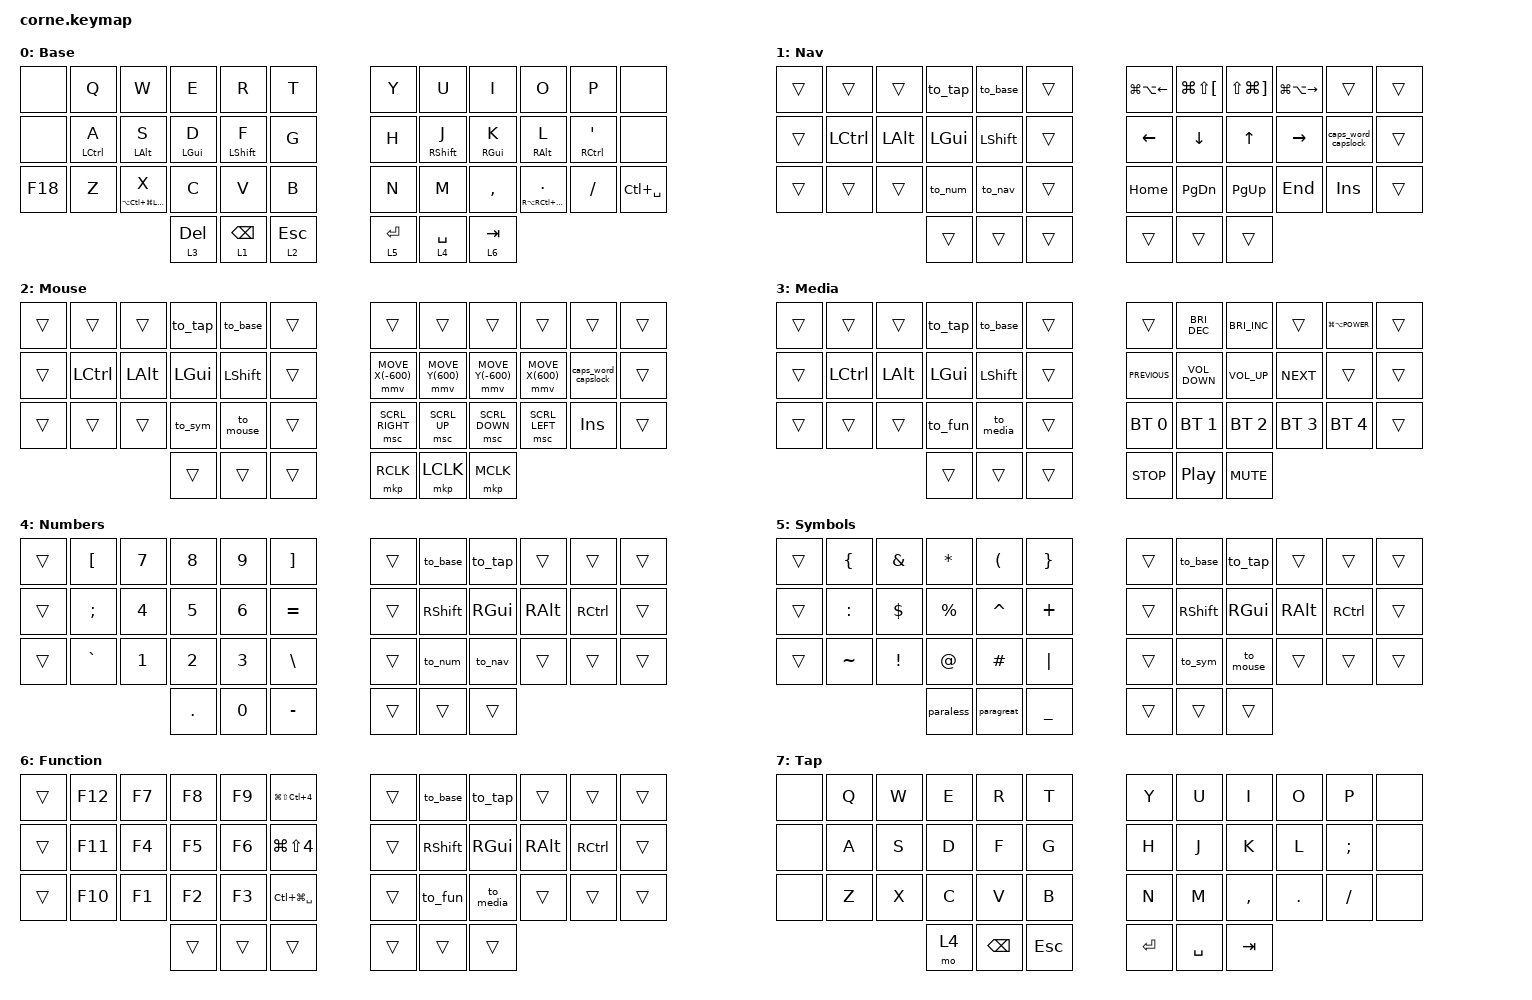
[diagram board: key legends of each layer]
#include <behaviors.dtsi>
#include <dt-bindings/zmk/bt.h>
#include <dt-bindings/zmk/keys.h>
#include <dt-bindings/zmk/pointing.h>

#define DEF 0
#define NAV 1
#define SYM 2
#define ADJ 3
#define EXTRA 4

&sk {
    release-after-ms = <900>;
    quick-release;
};

/ {
    behaviors {
        hm: homerow_mods {
            compatible = "zmk,behavior-hold-tap";
            #binding-cells = <2>;
            tapping-term-ms = <200>;
            flavor = "tap-preferred";
            bindings = <&kp>, <&kp>;

            quick-tap-ms = <180>;
            require-prior-idle-ms = <120>; /* tune to taste */
        };

        paraless: paraless {
            compatible = "zmk,behavior-mod-morph";
            bindings = <&kp LEFT_PARENTHESIS>, <&kp LESS_THAN>;

            #binding-cells = <0>;
            mods = <(MOD_RSFT)>;
        };

        paragreat: paragreat {
            compatible = "zmk,behavior-mod-morph";
            bindings = <&kp RIGHT_PARENTHESIS>, <&kp GREATER_THAN>;

            #binding-cells = <0>;
            mods = <(MOD_RSFT)>;
        };

        shift_caps: shift_caps {
            compatible = "zmk,behavior-tap-dance";
            label = "SHIFT_CAPS";
            #binding-cells = <0>;
            bindings = <&hold_sticktap LEFT_SHIFT LEFT_SHIFT>, <&kp CAPS>;
        };

        layer_tap_repeat: layer_tap_repeat {
            compatible = "zmk,behavior-hold-tap";
            #binding-cells = <2>;
            tapping-term-ms = <180>;
            flavor = "balanced";
            bindings = <&mo>, <&kp>;

            quick-tap-ms = <175>;
            require-prior-idle-ms = <120>;
            label = "LAYER_TAP_REPEAT";
        };

        hold_sticktap: hold_sticktap {
            compatible = "zmk,behavior-hold-tap";
            label = "HOLD_STICKTAP";
            bindings = <&kp>, <&sk>;

            #binding-cells = <2>;
            tapping-term-ms = <200>;
            flavor = "tap-preferred";
        };

        terminal_tmux_tapdance: terminal_tmux_tapdance {
            compatible = "zmk,behavior-tap-dance";
            label = "TERMINAL_TMUX_TAPDANCE";
            #binding-cells = <0>;
            bindings = <&ctrl_space>, <&ctrl_backtick>;
        };

        caps_word_layer_tap: caps_word_layer_tap {
            compatible = "zmk,behavior-hold-tap";
            #binding-cells = <2>;
            tapping-term-ms = <220>;
            flavor = "tap-preferred";
            bindings = <&mo>, <&sticky_shift_caps_word>;

            quick-tap-ms = <200>;
            require-prior-idle-ms = <120>;
            label = "CAPS_WORD_LAYER_TAP";
        };

        hrm_left: hrm_left {
            compatible = "zmk,behavior-hold-tap";
            #binding-cells = <2>;
            tapping-term-ms = <200>;
            flavor = "tap-preferred";
            bindings = <&kp>, <&kp>;

            quick-tap-ms = <180>;
            require-prior-idle-ms = <120>;
            label = "HRM_LEFT";
            hold-trigger-key-positions = <6 10 11 18 19 20 21 22 23 30 31 32 33 34 35 7 8 9 39 40 41>;
            hold-trigger-on-release;
        };

        hrm_right: hrm_right {
            compatible = "zmk,behavior-hold-tap";
            #binding-cells = <2>;
            tapping-term-ms = <200>;
            flavor = "tap-preferred";
            bindings = <&kp>, <&kp>;

            quick-tap-ms = <180>;
            require-prior-idle-ms = <120>;
            label = "HRM_RIGHT";
            hold-trigger-key-positions = <0 1 5 12 13 14 15 16 17 24 25 26 27 28 29 2 3 4 5 36 37 38>;
            hold-trigger-on-release;
        };

        sticky_shift_caps: sticky_shift_caps {
            compatible = "zmk,behavior-mod-morph";
            label = "STICKY_SHIFT_CAPS";
            bindings = <&sk LEFT_SHIFT>, <&caps_word>;

            #binding-cells = <0>;
            mods = <(MOD_LSFT)>;
        };

        sticky_shift_caps_word: sticky_shift_caps_word {
            compatible = "zmk,behavior-tap-dance";
            label = "STICKY_SHIFT_CAPS_WORD";
            #binding-cells = <0>;
            bindings = <&sk LEFT_SHIFT>, <&caps_word>;
        };

        hr_shift: hr_shift {
            compatible = "zmk,behavior-hold-tap";
            label = "HR_SHIFT";
            bindings = <&kp>, <&kp>;

            #binding-cells = <2>;
            tapping-term-ms = <180>;
            quick-tap-ms = <175>;
            flavor = "balanced";
            hold-trigger-on-release;
        };

        caps_word_capslock: caps_word_capslock {
            compatible = "zmk,behavior-mod-morph";
            label = "CAPS_WORD_CAPSLOCK";
            bindings = <&caps_word>, <&kp CAPS>;

            #binding-cells = <0>;
            mods = <(MOD_LSFT|MOD_RSFT)>;
        };

        to_nav: to_nav {
            compatible = "zmk,behavior-tap-dance";
            label = "TO_NAV";
            #binding-cells = <0>;
            bindings = <&none>, <&to 1>;
        };

        to_mouse: to_mouse {
            compatible = "zmk,behavior-tap-dance";
            label = "TO_MOUSE";
            #binding-cells = <0>;
            bindings = <&none>, <&to 2>;
        };

        to_num: to_num {
            compatible = "zmk,behavior-tap-dance";
            label = "TO_NUM";
            #binding-cells = <0>;
            bindings = <&none>, <&to 4>;
        };

        to_sym: to_sym {
            compatible = "zmk,behavior-tap-dance";
            label = "TO_SYM";
            #binding-cells = <0>;
            bindings = <&none>, <&to 5>;
        };

        to_media: to_media {
            compatible = "zmk,behavior-tap-dance";
            label = "TO_MEDIA";
            #binding-cells = <0>;
            bindings = <&none>, <&to 3>;
        };

        to_fun: to_fun {
            compatible = "zmk,behavior-tap-dance";
            label = "TO_FUN";
            #binding-cells = <0>;
            bindings = <&none>, <&to 6>;
        };

        to_base: to_base {
            compatible = "zmk,behavior-tap-dance";
            label = "TO_BASE";
            #binding-cells = <0>;
            bindings = <&none>, <&to 0>;
        };

        to_tap: to_tap {
            compatible = "zmk,behavior-tap-dance";
            label = "TO_TAP";
            #binding-cells = <0>;
            bindings = <&none>, <&to 7>;
        };
    };

    combos {
        compatible = "zmk,combos";

        ctrl_space_combo {
            bindings = <&ctrl_space>;
            key-positions = <13 40>;
            layers = <0>;
        };

        tap_layer_to_base {
            bindings = <&to 0>;
            key-positions = <36 41>;
            layers = <7>;
        };
    };

    //

    macros {
        ctrl_backtick: ctrl_backtick {
            compatible = "zmk,behavior-macro";
            #binding-cells = <0>;
            bindings =
                <&macro_press>,
                <&kp LC(GRAVE)>,
                <&macro_release>,
                <&kp LC(GRAVE)>;

            label = "CTRL_BACKTICK";
        };

        ctrl_space: ctrl_space {
            compatible = "zmk,behavior-macro";
            #binding-cells = <0>;
            bindings =
                <&macro_press>,
                <&kp LC(SPACE)>,
                <&macro_release>,
                <&kp LC(SPACE)>;

            label = "CTRL_SPACE";
        };
    };

    keymap {
        compatible = "zmk,keymap";

        BASE {
            display-name = "Base";

            // -----------------------------------------------------------------------------------------
            // |  Q  |  W  |  E  |  R  |  T  |   |  Y  |  U   |  I  |  O  |  P  |
            // |  A  |  S  |  D  |  F  |  G  |   |  H  |  J   |  K  |  L  |  ;  |
            // |  Z  |  X  |  C  |  V  |  B  |   |  N  |  M   |  ,  |  .  |  /  |
            // | GUI | CTRL | SHFT | LWR | SPC |   | ENT | RSE  | BKSP | ALT | ESC |

            bindings = <
&none    &kp Q                     &kp W                               &kp E                    &kp R                          &kp T           &kp Y        &kp U                    &kp I                   &kp O                                   &kp P                 &none
&none    &hrm_left LEFT_CONTROL A  &hrm_left LEFT_ALT S                &hrm_left LEFT_GUI D     &hr_shift LEFT_SHIFT F         &kp G           &kp H        &hr_shift RIGHT_SHIFT J  &hrm_right RIGHT_GUI K  &hrm_right RIGHT_ALT L                  &hrm_right RCTRL SQT  &none
&kp F18  &kp Z                     &hrm_left LA(LC(LG(LEFT_SHIFT))) X  &kp C                    &kp V                          &kp B           &kp N        &kp M                    &kp COMMA               &hrm_right RA(RC(RG(RIGHT_SHIFT))) DOT  &kp SLASH             &kp LC(SPACE)
                                                                       &layer_tap_repeat 3 DEL  &layer_tap_repeat 1 BACKSPACE  &lt 2 ESCAPE    &lt 5 ENTER  &lt 4 SPACE              &lt 6 TAB
            >;
        };

        NAV {
            bindings = <
&trans  &trans            &trans        &to_tap       &to_base        &trans    &kp LG(LA(LEFT))  &kp LG(LS(LEFT_BRACKET))  &kp LS(LG(RIGHT_BRACKET))  &kp LG(LA(RIGHT))  &trans               &trans
&trans  &kp LEFT_CONTROL  &kp LEFT_ALT  &kp LEFT_GUI  &kp LEFT_SHIFT  &trans    &kp LEFT          &kp DOWN_ARROW            &kp UP_ARROW               &kp RIGHT          &caps_word_capslock  &trans
&trans  &trans            &trans        &to_num       &to_nav         &trans    &kp HOME          &kp PAGE_DOWN             &kp PAGE_UP                &kp END            &kp INSERT           &trans
                                        &trans        &trans          &trans    &trans            &trans                    &trans
            >;

            label = "Nav";
        };

        MOUSE {
            bindings = <
&trans  &trans            &trans        &to_tap       &to_base        &trans    &trans             &trans            &trans             &trans            &trans               &trans
&trans  &kp LEFT_CONTROL  &kp LEFT_ALT  &kp LEFT_GUI  &kp LEFT_SHIFT  &trans    &mmv MOVE_X(-600)  &mmv MOVE_Y(600)  &mmv MOVE_Y(-600)  &mmv MOVE_X(600)  &caps_word_capslock  &trans
&trans  &trans            &trans        &to_sym       &to_mouse       &trans    &msc SCRL_RIGHT    &msc SCRL_UP      &msc SCRL_DOWN     &msc SCRL_LEFT    &kp INSERT           &trans
                                        &trans        &trans          &trans    &mkp RCLK          &mkp LCLK         &mkp MCLK
            >;

            label = "Mouse";
        };

        MEDIA {
            bindings = <
&trans  &trans            &trans        &to_tap       &to_base        &trans    &trans          &kp C_BRIGHTNESS_DEC  &kp C_BRIGHTNESS_INC  &trans        &kp LG(LA(C_POWER))  &trans
&trans  &kp LEFT_CONTROL  &kp LEFT_ALT  &kp LEFT_GUI  &kp LEFT_SHIFT  &trans    &kp C_PREVIOUS  &kp C_VOLUME_DOWN     &kp C_VOLUME_UP       &kp C_NEXT    &trans               &trans
&trans  &trans            &trans        &to_fun       &to_media       &trans    &bt BT_SEL 0    &bt BT_SEL 1          &bt BT_SEL 2          &bt BT_SEL 3  &bt BT_SEL 4         &trans
                                        &trans        &trans          &trans    &kp C_STOP      &kp C_PLAY_PAUSE      &kp C_MUTE
            >;

            label = "Media";
        };

        NUM {
            display-name = "Numbers";

            // -----------------------------------------------------------------------------------------
            // |  TAB |  1  |  2  |  3  |  4  |  5  |   |  6  |  7  |  8  |  9  |  0  | BKSP |
            // | BTCLR| BT1 | BT2 | BT3 | BT4 | BT5 |   | LFT | DWN |  UP | RGT |     |      |
            // | SHFT |     |     |     |     |     |   |     |     |     |     |     |      |
            // | GUI | CTRL | SHFT | LWR | SPC |   | ENT | RSE  | BKSP | ALT | ESC |

            bindings = <
&trans  &kp LEFT_BRACKET  &kp N7        &kp N8        &kp N9        &kp RIGHT_BRACKET    &trans  &to_base         &to_tap        &trans         &trans     &trans
&trans  &kp SEMICOLON     &kp NUMBER_4  &kp N5        &kp NUMBER_6  &kp EQUAL            &trans  &kp RIGHT_SHIFT  &kp RIGHT_GUI  &kp RIGHT_ALT  &kp RCTRL  &trans
&trans  &kp GRAVE         &kp NUMBER_1  &kp NUMBER_2  &kp NUMBER_3  &kp BACKSLASH        &trans  &to_num          &to_nav        &trans         &trans     &trans
                                        &kp PERIOD    &kp N0        &kp MINUS            &trans  &trans           &trans
            >;
        };

        SYM {
            display-name = "Symbols";
            bindings = <
&trans  &kp LEFT_BRACE  &kp AMPERSAND    &kp ASTERISK  &kp LEFT_PARENTHESIS  &kp RIGHT_BRACE    &trans  &to_base         &to_tap        &trans         &trans     &trans
&trans  &kp COLON       &kp DOLLAR       &kp PERCENT   &kp CARET             &kp PLUS           &trans  &kp RIGHT_SHIFT  &kp RIGHT_GUI  &kp RIGHT_ALT  &kp RCTRL  &trans
&trans  &kp TILDE       &kp EXCLAMATION  &kp AT_SIGN   &kp HASH              &kp PIPE           &trans  &to_sym          &to_mouse      &trans         &trans     &trans
                                         &paraless     &paragreat            &kp UNDERSCORE     &trans  &trans           &trans
            >;
        };

        Fun {
            display-name = "Function";
            bindings = <
&trans  &kp F12  &kp F7  &kp F8  &kp F9  &kp LG(LS(LC(NUMBER_4)))    &trans  &to_base         &to_tap        &trans         &trans             &trans
&trans  &kp F11  &kp F4  &kp F5  &kp F6  &kp LG(LS(NUMBER_4))        &trans  &kp RIGHT_SHIFT  &kp RIGHT_GUI  &kp RIGHT_ALT  &kp RIGHT_CONTROL  &trans
&trans  &kp F10  &kp F1  &kp F2  &kp F3  &kp LC(LG(SPACE))           &trans  &to_fun          &to_media      &trans         &trans             &trans
                         &trans  &trans  &trans                      &trans  &trans           &trans
            >;
        };

        Tap {
            display-name = "Tap";
            bindings = <
&none  &kp Q  &kp W  &kp E  &kp R          &kp T         &kp Y       &kp U      &kp I      &kp O       &kp P          &none
&none  &kp A  &kp S  &kp D  &kp F          &kp G         &kp H       &kp J      &kp K      &kp L       &kp SEMICOLON  &none
&none  &kp Z  &kp X  &kp C  &kp V          &kp B         &kp N       &kp M      &kp COMMA  &kp PERIOD  &kp SLASH      &none
                     &mo 4  &kp BACKSPACE  &kp ESCAPE    &kp RETURN  &kp SPACE  &kp TAB
            >;

            label = "Tap";
        };
    };
};
